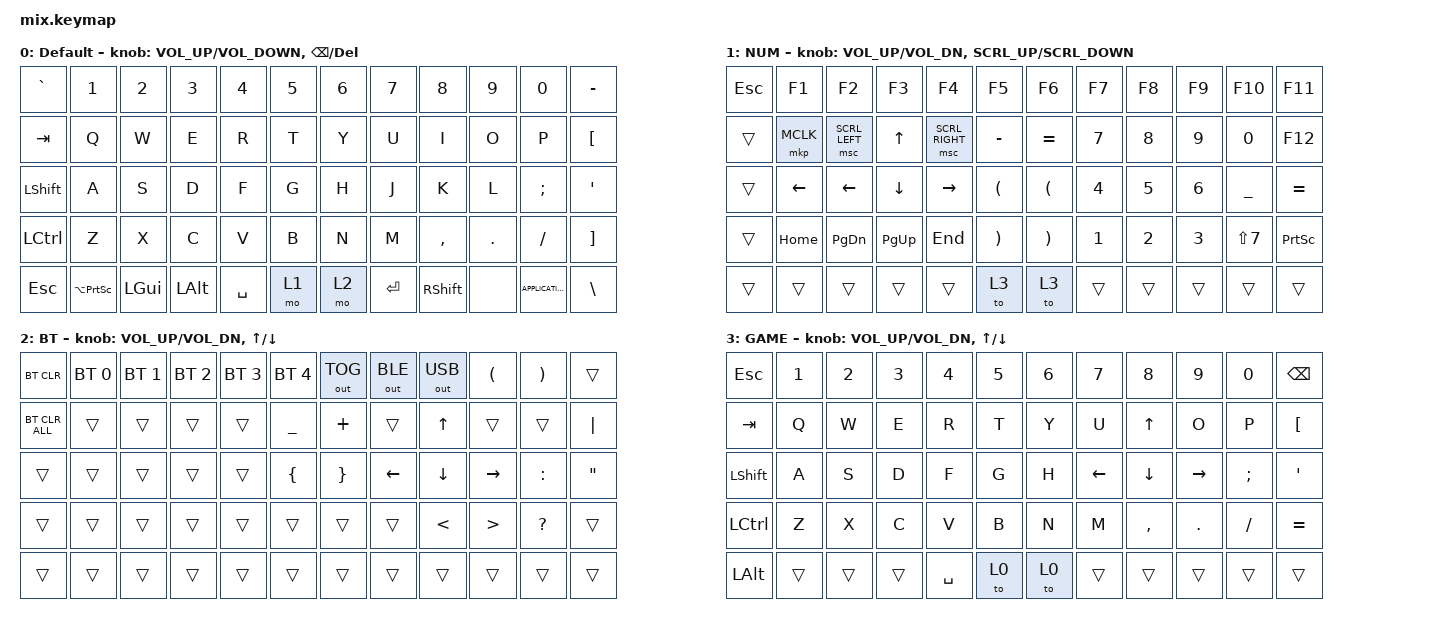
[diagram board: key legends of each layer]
/*
 * Copyright (c) 2020 The ZMK Contributors
 *
 * SPDX-License-Identifier: MIT
 */

#include <behaviors.dtsi>
#include <dt-bindings/zmk/bt.h>
#include <dt-bindings/zmk/keys.h>
#include <dt-bindings/zmk/outputs.h>
#include <dt-bindings/zmk/pointing.h>

#define ZMK_POINTING_DEFAULT_SCRL_VAL 40

/ {
    combos {
        compatible = "zmk,combos";

        boot {
            bindings = <&bootloader>;
            key-positions = <0 11 54 53>;
        };

        eq {
            bindings = <&kp EQUAL>;
            key-positions = <11 10>;
        };

        cins {
            bindings = <&kp LC(INSERT)>;
            key-positions = <36 20>;
        };

        sins {
            bindings = <&kp LS(INS)>;
            key-positions = <56 20>;
        };
    };

    behaviors {
        encoder_sc: encoder_sc {
            compatible = "zmk,behavior-sensor-rotate-var";
            label = "ENCODER_SC";
            #sensor-binding-cells = <2>;
            bindings = <&msc>, <&msc>;

            tap-ms = <40>;
        };
    };

    macros {
        lm: lm {
            compatible = "zmk,behavior-macro-two-param";
            #binding-cells = <2>;
            bindings =
                <&macro_param_1to1>,
                <&macro_press>,
                <&kp MACRO_PLACEHOLDER &macro_param_2to1>,
                <&macro_press>,
                <&kp MACRO_PLACEHOLDER>,
                <&macro_pause_for_release>,
                <&macro_param_2to1>,
                <&macro_release>,
                <&kp MACRO_PLACEHOLDER &macro_param_1to1>,
                <&macro_release>,
                <&kp MACRO_PLACEHOLDER>;

            label = "LM";
        };
    };

    keymap {
        compatible = "zmk,keymap";

        LAYER0 {
            display-name = "Default";
            bindings = <
&kp GRAVE   &kp N1               &kp N2        &kp N3        &kp NUMBER_4  &kp N5  &kp NUMBER_6  &kp N7     &kp N8      &kp N9   &kp N0             &kp MINUS
&kp TAB     &kp Q                &kp W         &kp E         &kp R         &kp T   &kp Y         &kp U      &kp I       &kp O    &kp P              &kp LBKT
&kp LSHIFT  &kp A                &kp S         &kp D         &kp F         &kp G   &kp H         &kp J      &kp K       &kp L    &kp SEMICOLON      &kp SQT
&kp LCTRL   &kp Z                &kp X         &kp C         &kp V         &kp B   &kp N         &kp M      &kp COMMA   &kp DOT  &kp FSLH           &kp RBKT
&kp ESCAPE  &kp LA(PRINTSCREEN)  &kp LEFT_GUI  &kp LEFT_ALT  &kp SPACE     &mo 1   &mo 2         &kp ENTER  &kp RSHIFT  &none    &kp K_APPLICATION  &kp BSLH
            >;

            sensor-bindings =
                <&inc_dec_kp C_VOLUME_UP C_VOLUME_DOWN>,
                <&inc_dec_kp BACKSPACE DELETE>;
        };

        LAYER1 {
            display-name = "NUM";
            bindings = <
&kp ESC  &kp F1     &kp F2          &kp F3     &kp F4           &kp F5                 &kp F6                 &kp F7  &kp F8  &kp F9  &kp F10         &kp F11
&trans   &mkp MCLK  &msc SCRL_LEFT  &kp UP     &msc SCRL_RIGHT  &kp MINUS              &kp EQUAL              &kp N7  &kp N8  &kp N9  &kp N0          &kp F12
&trans   &kp LEFT   &kp LEFT        &kp DOWN   &kp RIGHT        &kp LEFT_PARENTHESIS   &kp LEFT_PARENTHESIS   &kp N4  &kp N5  &kp N6  &kp UNDERSCORE  &kp EQUAL
&trans   &kp HOME   &kp PG_DN       &kp PG_UP  &kp END          &kp RIGHT_PARENTHESIS  &kp RIGHT_PARENTHESIS  &kp N1  &kp N2  &kp N3  &kp LS(N7)      &kp PRINTSCREEN
&trans   &trans     &trans          &trans     &trans           &to 3                  &to 3                  &trans  &trans  &trans  &trans          &trans
            >;

            sensor-bindings =
                <&inc_dec_kp C_VOL_UP C_VOL_DN>,
                <&encoder_sc SCRL_UP SCRL_DOWN>;
        };

        LAYER2 {
            display-name = "BT";
            bindings = <
&bt BT_CLR      &bt BT_SEL 0  &bt BT_SEL 1  &bt BT_SEL 2  &bt BT_SEL 3  &bt BT_SEL 4    &out OUT_TOG     &out OUT_BLE  &out OUT_USB   &kp LEFT_PARENTHESIS  &kp RIGHT_PARENTHESIS  &trans
&bt BT_CLR_ALL  &trans        &trans        &trans        &trans        &kp UNDERSCORE  &kp PLUS         &trans        &kp UP         &trans                &trans                 &kp PIPE
&trans          &trans        &trans        &trans        &trans        &kp LEFT_BRACE  &kp RIGHT_BRACE  &kp LEFT      &kp DOWN       &kp RIGHT             &kp COLON              &kp DOUBLE_QUOTES
&trans          &trans        &trans        &trans        &trans        &trans          &trans           &trans        &kp LESS_THAN  &kp GREATER_THAN      &kp QUESTION           &trans
&trans          &trans        &trans        &trans        &trans        &trans          &trans           &trans        &trans         &trans                &trans                 &trans
            >;

            sensor-bindings =
                <&inc_dec_kp C_VOL_UP C_VOL_DN>,
                <&inc_dec_kp UP_ARROW DOWN>;
        };

        LAYER3 {
            display-name = "GAME";
            bindings = <
&kp ESC    &kp N1  &kp N2  &kp N3  &kp N4     &kp N5  &kp N6  &kp N7    &kp N8     &kp N9     &kp N0    &kp BSPC
&kp TAB    &kp Q   &kp W   &kp E   &kp R      &kp T   &kp Y   &kp U     &kp UP     &kp O      &kp P     &kp LBKT
&kp LSHFT  &kp A   &kp S   &kp D   &kp F      &kp G   &kp H   &kp LEFT  &kp DOWN   &kp RIGHT  &kp SEMI  &kp APOS
&kp LCTRL  &kp Z   &kp X   &kp C   &kp V      &kp B   &kp N   &kp M     &kp COMMA  &kp DOT    &kp FSLH  &kp EQUAL
&kp LALT   &trans  &trans  &trans  &kp SPACE  &to 0   &to 0   &trans    &trans     &trans     &trans    &trans
            >;

            sensor-bindings =
                <&inc_dec_kp C_VOL_UP C_VOL_DN>,
                <&inc_dec_kp UP_ARROW DOWN_ARROW>;
        };
    };
};
